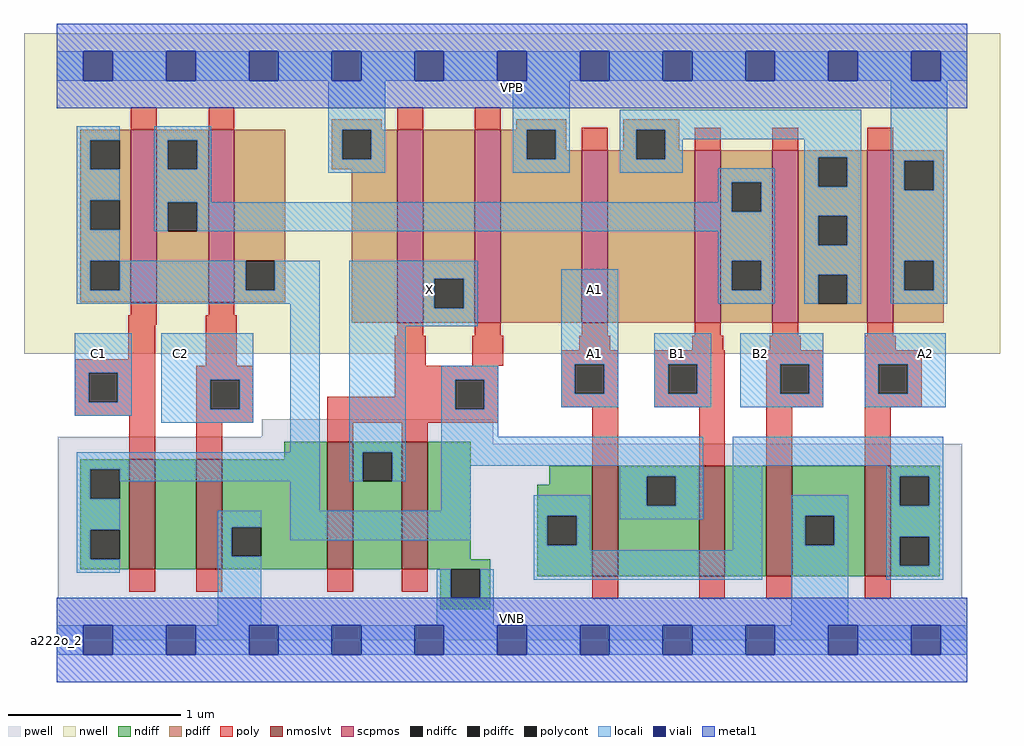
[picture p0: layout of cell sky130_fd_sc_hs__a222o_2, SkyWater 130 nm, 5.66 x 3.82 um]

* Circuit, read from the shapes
.subckt sky130_fd_sc_hs__a222o_2 A1 A2 B1 B2 C1 C2 VGND VNB VPB VPWR X
XM1 n1 C1 n2 VNB sky130_fd_pr__nfet_01v8_lvt w=0.64 l=0.15
XM2 VGND C2 n1 VNB sky130_fd_pr__nfet_01v8_lvt w=0.64 l=0.15
XM3 X n2 VGND VNB sky130_fd_pr__nfet_01v8_lvt w=0.74 l=0.15 m=2
XM4 n2 A1 n3 VNB sky130_fd_pr__nfet_01v8_lvt w=0.64 l=0.15
XM5 n4 B1 n2 VNB sky130_fd_pr__nfet_01v8_lvt w=0.64 l=0.15
XM6 VGND B2 n4 VNB sky130_fd_pr__nfet_01v8_lvt w=0.64 l=0.15
XM7 n3 A2 VGND VNB sky130_fd_pr__nfet_01v8_lvt w=0.64 l=0.15
XM8 n5 C1 n2 VPB sky130_fd_pr__pfet_01v8 w=1 l=0.15
XM9 n2 C2 n5 VPB sky130_fd_pr__pfet_01v8 w=1 l=0.15
XM10 X n2 VPWR VPB sky130_fd_pr__pfet_01v8 w=1.12 l=0.15 m=2
XM11 n6 A1 VPWR VPB sky130_fd_pr__pfet_01v8 w=1 l=0.15
XM12 n5 B1 n6 VPB sky130_fd_pr__pfet_01v8 w=1 l=0.15
XM13 n6 B2 n5 VPB sky130_fd_pr__pfet_01v8 w=1 l=0.15
XM14 VPWR A2 n6 VPB sky130_fd_pr__pfet_01v8 w=1 l=0.15
.ends

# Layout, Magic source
magic
tech sky130A
magscale 1 2
<< nwell >>
rect -38 332 1094 704
<< pwell >>
rect 238 236 506 256
rect 1 228 506 236
rect 1 49 1050 228
rect 0 0 1056 49
<< scpmos >>
rect 86 392 116 592
rect 176 392 206 592
rect 395 368 425 592
rect 485 368 515 592
rect 609 368 639 568
rect 740 368 770 568
rect 830 368 860 568
rect 940 368 970 568
<< nmoslvt >>
rect 84 82 114 210
rect 162 82 192 210
rect 314 82 344 230
rect 400 82 430 230
rect 621 74 651 202
rect 745 74 775 202
rect 823 74 853 202
rect 937 74 967 202
<< ndiff >>
rect 264 210 314 230
rect 27 198 84 210
rect 27 164 39 198
rect 73 164 84 198
rect 27 128 84 164
rect 27 94 39 128
rect 73 94 84 128
rect 27 82 84 94
rect 114 82 162 210
rect 192 131 314 210
rect 192 97 203 131
rect 237 97 314 131
rect 192 82 314 97
rect 344 218 400 230
rect 344 184 355 218
rect 389 184 400 218
rect 344 82 400 184
rect 430 94 480 230
rect 571 180 621 202
rect 557 144 621 180
rect 557 110 569 144
rect 603 110 621 144
rect 430 82 503 94
rect 445 48 457 82
rect 491 48 503 82
rect 557 74 621 110
rect 651 190 745 202
rect 651 156 684 190
rect 718 156 745 190
rect 651 74 745 156
rect 775 74 823 202
rect 853 144 937 202
rect 853 110 868 144
rect 902 110 937 144
rect 853 74 937 110
rect 967 190 1024 202
rect 967 156 978 190
rect 1012 156 1024 190
rect 967 120 1024 156
rect 967 86 978 120
rect 1012 86 1024 120
rect 967 74 1024 86
rect 445 36 503 48
<< pdiff >>
rect 319 592 377 604
rect 533 592 591 604
rect 27 580 86 592
rect 27 546 39 580
rect 73 546 86 580
rect 27 510 86 546
rect 27 476 39 510
rect 73 476 86 510
rect 27 440 86 476
rect 27 406 39 440
rect 73 406 86 440
rect 27 392 86 406
rect 116 580 176 592
rect 116 546 129 580
rect 163 546 176 580
rect 116 508 176 546
rect 116 474 129 508
rect 163 474 176 508
rect 116 392 176 474
rect 206 440 265 592
rect 319 558 331 592
rect 365 558 395 592
rect 319 546 395 558
rect 206 406 219 440
rect 253 406 265 440
rect 206 392 265 406
rect 342 368 395 546
rect 425 419 485 592
rect 425 385 438 419
rect 472 385 485 419
rect 425 368 485 385
rect 515 558 545 592
rect 579 568 591 592
rect 657 592 722 604
rect 657 568 672 592
rect 579 558 609 568
rect 515 368 609 558
rect 639 558 672 568
rect 706 568 722 592
rect 706 558 740 568
rect 639 368 740 558
rect 770 531 830 568
rect 770 497 783 531
rect 817 497 830 531
rect 770 440 830 497
rect 770 406 783 440
rect 817 406 830 440
rect 770 368 830 406
rect 860 560 940 568
rect 860 526 883 560
rect 917 526 940 560
rect 860 492 940 526
rect 860 458 883 492
rect 917 458 940 492
rect 860 424 940 458
rect 860 390 883 424
rect 917 390 940 424
rect 860 368 940 390
rect 970 556 1029 568
rect 970 522 983 556
rect 1017 522 1029 556
rect 970 440 1029 522
rect 970 406 983 440
rect 1017 406 1029 440
rect 970 368 1029 406
<< ndiffc >>
rect 39 164 73 198
rect 39 94 73 128
rect 203 97 237 131
rect 355 184 389 218
rect 569 110 603 144
rect 457 48 491 82
rect 684 156 718 190
rect 868 110 902 144
rect 978 156 1012 190
rect 978 86 1012 120
<< pdiffc >>
rect 39 546 73 580
rect 39 476 73 510
rect 39 406 73 440
rect 129 546 163 580
rect 129 474 163 508
rect 331 558 365 592
rect 219 406 253 440
rect 438 385 472 419
rect 545 558 579 592
rect 672 558 706 592
rect 783 497 817 531
rect 783 406 817 440
rect 883 526 917 560
rect 883 458 917 492
rect 883 390 917 424
rect 983 522 1017 556
rect 983 406 1017 440
<< poly >>
rect 86 592 116 618
rect 176 592 206 618
rect 395 592 425 618
rect 485 592 515 618
rect 86 377 116 392
rect 176 377 206 392
rect 83 366 116 377
rect 83 326 114 366
rect 21 310 114 326
rect 173 318 209 377
rect 609 568 639 594
rect 740 568 770 594
rect 830 568 860 594
rect 940 568 970 594
rect 395 353 425 368
rect 485 353 515 368
rect 609 353 639 368
rect 740 353 770 368
rect 830 353 860 368
rect 940 353 970 368
rect 392 318 428 353
rect 482 318 518 353
rect 606 336 642 353
rect 737 336 773 353
rect 827 336 863 353
rect 937 336 973 353
rect 585 320 651 336
rect 21 276 37 310
rect 71 276 114 310
rect 21 260 114 276
rect 84 210 114 260
rect 162 302 228 318
rect 162 268 178 302
rect 212 268 228 302
rect 392 302 512 318
rect 392 282 462 302
rect 162 252 228 268
rect 314 268 462 282
rect 496 268 512 302
rect 585 286 601 320
rect 635 286 651 320
rect 585 270 651 286
rect 693 320 775 336
rect 693 286 709 320
rect 743 286 775 320
rect 693 270 775 286
rect 314 252 512 268
rect 162 210 192 252
rect 314 230 344 252
rect 400 230 430 252
rect 621 202 651 270
rect 745 202 775 270
rect 823 320 889 336
rect 823 286 839 320
rect 873 286 889 320
rect 823 270 889 286
rect 937 320 1003 336
rect 937 286 953 320
rect 987 286 1003 320
rect 937 270 1003 286
rect 823 202 853 270
rect 937 202 967 270
rect 84 56 114 82
rect 162 56 192 82
rect 314 56 344 82
rect 400 56 430 82
rect 621 48 651 74
rect 745 48 775 74
rect 823 48 853 74
rect 937 48 967 74
<< polycont >>
rect 37 276 71 310
rect 178 268 212 302
rect 462 268 496 302
rect 601 286 635 320
rect 709 286 743 320
rect 839 286 873 320
rect 953 286 987 320
<< locali >>
rect 0 649 31 683
rect 65 649 127 683
rect 161 649 223 683
rect 257 649 319 683
rect 353 649 415 683
rect 449 649 511 683
rect 545 649 607 683
rect 641 649 703 683
rect 737 649 799 683
rect 833 649 895 683
rect 929 649 991 683
rect 1025 649 1056 683
rect 23 580 73 596
rect 23 546 39 580
rect 23 510 73 546
rect 23 476 39 510
rect 23 440 73 476
rect 113 580 179 596
rect 113 546 129 580
rect 163 546 179 580
rect 113 508 179 546
rect 315 592 381 649
rect 315 558 331 592
rect 365 558 381 592
rect 315 542 381 558
rect 529 592 595 649
rect 529 558 545 592
rect 579 558 595 592
rect 529 542 595 558
rect 653 592 933 615
rect 653 558 672 592
rect 706 581 933 592
rect 706 558 726 581
rect 653 542 726 558
rect 867 560 933 581
rect 767 531 833 547
rect 767 508 783 531
rect 113 474 129 508
rect 163 497 783 508
rect 817 497 833 531
rect 163 474 833 497
rect 767 440 833 474
rect 23 406 39 440
rect 73 406 219 440
rect 253 406 305 440
rect 23 390 305 406
rect 21 310 87 356
rect 21 276 37 310
rect 71 276 87 310
rect 21 260 87 276
rect 121 302 228 356
rect 121 268 178 302
rect 212 268 228 302
rect 121 252 228 268
rect 271 218 305 390
rect 23 198 305 218
rect 23 164 39 198
rect 73 184 305 198
rect 339 419 488 440
rect 339 385 438 419
rect 472 385 488 419
rect 339 364 488 385
rect 339 218 405 364
rect 585 320 651 430
rect 767 406 783 440
rect 817 406 833 440
rect 767 390 833 406
rect 867 526 883 560
rect 917 526 933 560
rect 867 492 933 526
rect 867 458 883 492
rect 917 458 933 492
rect 867 424 933 458
rect 867 390 883 424
rect 917 390 933 424
rect 967 556 1033 649
rect 967 522 983 556
rect 1017 522 1033 556
rect 967 440 1033 522
rect 967 406 983 440
rect 1017 406 1033 440
rect 967 390 1033 406
rect 339 184 355 218
rect 389 184 405 218
rect 446 302 512 318
rect 446 268 462 302
rect 496 268 512 302
rect 585 286 601 320
rect 635 286 651 320
rect 585 270 651 286
rect 693 320 759 356
rect 693 286 709 320
rect 743 286 759 320
rect 693 270 759 286
rect 793 320 889 356
rect 793 286 839 320
rect 873 286 889 320
rect 793 270 889 286
rect 937 320 1031 356
rect 937 286 953 320
rect 987 286 1031 320
rect 937 270 1031 286
rect 446 236 512 268
rect 446 202 750 236
rect 23 128 73 164
rect 271 150 305 184
rect 446 150 480 202
rect 653 190 750 202
rect 23 94 39 128
rect 23 78 73 94
rect 187 131 237 150
rect 187 97 203 131
rect 271 116 480 150
rect 553 144 619 168
rect 187 17 237 97
rect 553 110 569 144
rect 603 110 619 144
rect 653 156 684 190
rect 718 156 750 190
rect 653 140 750 156
rect 784 202 1028 236
rect 553 104 619 110
rect 784 104 818 202
rect 962 190 1028 202
rect 441 48 457 82
rect 491 48 507 82
rect 553 70 818 104
rect 852 144 918 168
rect 852 110 868 144
rect 902 110 918 144
rect 441 17 507 48
rect 852 17 918 110
rect 962 156 978 190
rect 1012 156 1028 190
rect 962 120 1028 156
rect 962 86 978 120
rect 1012 86 1028 120
rect 962 70 1028 86
rect 0 -17 31 17
rect 65 -17 127 17
rect 161 -17 223 17
rect 257 -17 319 17
rect 353 -17 415 17
rect 449 -17 511 17
rect 545 -17 607 17
rect 641 -17 703 17
rect 737 -17 799 17
rect 833 -17 895 17
rect 929 -17 991 17
rect 1025 -17 1056 17
<< viali >>
rect 31 649 65 683
rect 127 649 161 683
rect 223 649 257 683
rect 319 649 353 683
rect 415 649 449 683
rect 511 649 545 683
rect 607 649 641 683
rect 703 649 737 683
rect 799 649 833 683
rect 895 649 929 683
rect 991 649 1025 683
rect 31 -17 65 17
rect 127 -17 161 17
rect 223 -17 257 17
rect 319 -17 353 17
rect 415 -17 449 17
rect 511 -17 545 17
rect 607 -17 641 17
rect 703 -17 737 17
rect 799 -17 833 17
rect 895 -17 929 17
rect 991 -17 1025 17
<< metal1 >>
rect 0 683 1056 715
rect 0 649 31 683
rect 65 649 127 683
rect 161 649 223 683
rect 257 649 319 683
rect 353 649 415 683
rect 449 649 511 683
rect 545 649 607 683
rect 641 649 703 683
rect 737 649 799 683
rect 833 649 895 683
rect 929 649 991 683
rect 1025 649 1056 683
rect 0 617 1056 649
rect 0 17 1056 49
rect 0 -17 31 17
rect 65 -17 127 17
rect 161 -17 223 17
rect 257 -17 319 17
rect 353 -17 415 17
rect 449 -17 511 17
rect 545 -17 607 17
rect 641 -17 703 17
rect 737 -17 799 17
rect 833 -17 895 17
rect 929 -17 991 17
rect 1025 -17 1056 17
rect 0 -49 1056 -17
<< labels >>
rlabel comment s 0 0 0 0 4 a222o_2
flabel pwell s 0 0 1056 49 0 FreeSans 200 0 0 0 VNB
port 8 nsew ground bidirectional
flabel nwell s 0 617 1056 666 0 FreeSans 200 0 0 0 VPB
port 9 nsew power bidirectional
flabel metal1 s 0 617 1056 666 0 FreeSans 340 0 0 0 VPWR
port 10 nsew power bidirectional
flabel metal1 s 0 0 1056 49 0 FreeSans 340 0 0 0 VGND
port 7 nsew ground bidirectional
flabel locali s 415 390 449 424 0 FreeSans 340 0 0 0 X
port 11 nsew signal output
flabel locali s 31 316 65 350 0 FreeSans 340 0 0 0 C1
port 5 nsew signal input
flabel locali s 799 316 833 350 0 FreeSans 340 0 0 0 B2
port 4 nsew signal input
flabel locali s 703 316 737 350 0 FreeSans 340 0 0 0 B1
port 3 nsew signal input
flabel locali s 991 316 1025 350 0 FreeSans 340 0 0 0 A2
port 2 nsew signal input
flabel locali s 127 316 161 350 0 FreeSans 340 0 0 0 C2
port 6 nsew signal input
flabel locali s 607 316 641 350 0 FreeSans 340 0 0 0 A1
port 1 nsew signal input
flabel locali s 607 390 641 424 0 FreeSans 340 0 0 0 A1
port 1 nsew signal input
<< properties >>
string LEFsite unit
string LEFclass CORE
string FIXED_BBOX 0 0 1056 666
string GDS_FILE $PDKPATH/libs.ref/sky130_fd_sc_hs/gds/sky130_fd_sc_hs.gds
string LEFsymmetry X Y
string GDS_END 31652
string GDS_START 22966
<< end >>
